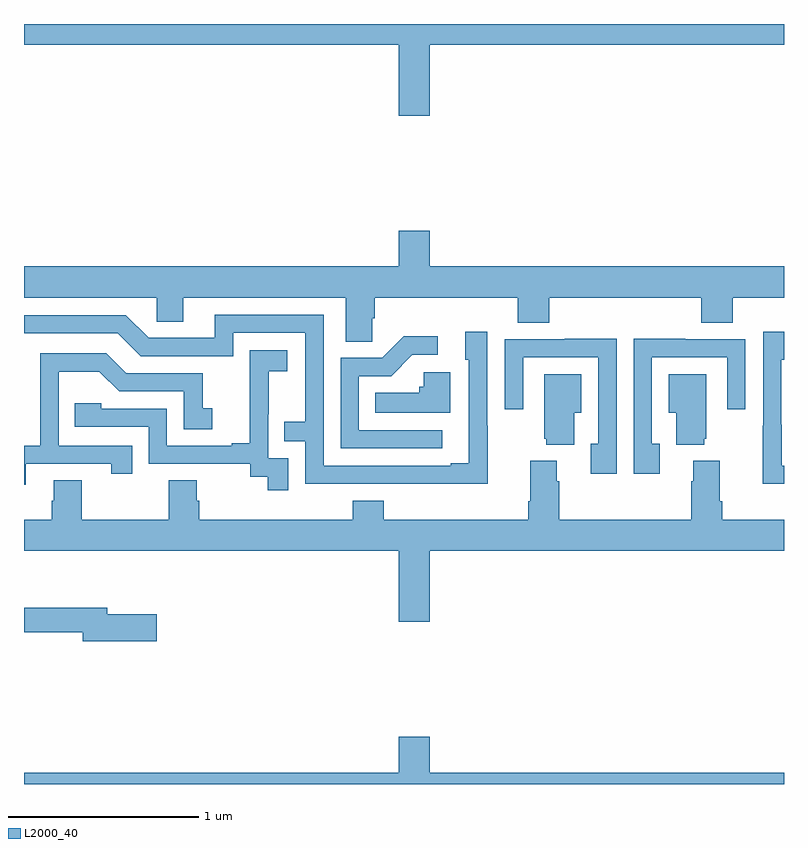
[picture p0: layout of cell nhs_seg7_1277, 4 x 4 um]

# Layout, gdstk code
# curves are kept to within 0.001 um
import gdstk
lib = gdstk.Library(unit=1e-6, precision=1e-09)
def P(c, l, *ps):  # polygons
    for p in ps: c.add(gdstk.Polygon(p, *l))
L2000_40 = (2000, 40)

nhs_seg7_1277 = lib.new_cell('nhs_seg7_1277')
P(nhs_seg7_1277, L2000_40, [(201.136,1057.892),(203,1057.892),(203,1058),(199,1058),(199,1057.892),(200.972,1057.892),(200.972,1057.518),(201.136,1057.518)],
  [(200.832,1056.451),(200.846,1056.451),(200.846,1056.56),(201.599,1056.56),(201.599,1056.427),(201.764,1056.427),(201.764,1056.56),(202.565,1056.56),(202.565,1056.427),(202.73,1056.427),(202.73,1056.56),(203,1056.56),(203,1056.724),(201.136,1056.724),(201.136,1056.913),(200.972,1056.913),(200.972,1056.724),(199,1056.724),(199,1056.56),(199.698,1056.56),(199.698,1056.433),(199.837,1056.433),(199.837,1056.56),(200.693,1056.56),(200.693,1056.328),(200.832,1056.328)],
  [(201.441,1055.885),(201.438,1055.885),(201.438,1056.379),(201.323,1056.379),(201.323,1056.234),(201.342,1056.234),(201.342,1055.689),(201.245,1055.689),(201.245,1055.676),(200.577,1055.676),(200.577,1056.471),(200.003,1056.471),(200.003,1056.348),(199.656,1056.348),(199.536,1056.468),(199,1056.468),(199,1056.372),(199.494,1056.372),(199.614,1056.252),(200.1,1056.252),(200.1,1056.375),(200.481,1056.375),(200.481,1055.906),(200.371,1055.906),(200.371,1055.805),(200.481,1055.805),(200.481,1055.58),(201.441,1055.579)],
  [(203,1055.676),(202.987,1055.676),(202.987,1055.891),(202.986,1055.891),(202.986,1056.234),(203,1056.234),(203,1056.379),(202.89,1056.379),(202.89,1055.885),(202.888,1055.885),(202.888,1055.579),(203,1055.579)],
  [(201.202,1055.862),(200.763,1055.862),(200.763,1056.147),(200.932,1056.147),(201.043,1056.258),(201.178,1056.258),(201.178,1056.356),(200.999,1056.356),(200.886,1056.243),(200.667,1056.243),(200.667,1055.766),(201.202,1055.766)],
  [(202.345,1055.79),(202.305,1055.79),(202.305,1056.246),(202.701,1056.246),(202.701,1055.973),(202.797,1055.973),(202.797,1056.342),(202.481,1056.342),(202.481,1056.344),(202.209,1056.344),(202.209,1055.634),(202.345,1055.634)],
  [(202.119,1056.344),(201.847,1056.344),(201.847,1056.342),(201.531,1056.342),(201.531,1055.973),(201.627,1055.973),(201.627,1056.246),(202.023,1056.246),(202.023,1055.79),(201.983,1055.79),(201.983,1055.634),(202.119,1055.634)],
  [(200.391,1055.715),(200.286,1055.715),(200.286,1055.945),(200.288,1055.945),(200.288,1056.173),(200.386,1056.173),(200.386,1056.283),(200.188,1056.283),(200.188,1056.077),(200.189,1056.077),(200.189,1055.794),(200.093,1055.794),(200.093,1055.781),(199.752,1055.781),(199.752,1055.976),(199.407,1055.976),(199.407,1056.003),(199.267,1056.003),(199.267,1055.88),(199.656,1055.88),(199.656,1055.685),(200.19,1055.685),(200.19,1055.617),(200.283,1055.617),(200.283,1055.547),(200.391,1055.547)],
  [(199.009,1055.685),(199.46,1055.685),(199.46,1055.634),(199.571,1055.634),(199.571,1055.781),(199.182,1055.781),(199.182,1056.17),(199.396,1056.17),(199.5,1056.066),(199.842,1056.066),(199.842,1055.868),(199.99,1055.868),(199.99,1055.977),(199.941,1055.977),(199.941,1056.162),(199.537,1056.162),(199.432,1056.267),(199.086,1056.267),(199.086,1055.781),(199,1055.781),(199,1055.574),(199.009,1055.574)],
  [(201.244,1056.166),(201.105,1056.166),(201.105,1056.09),(201.079,1056.09),(201.079,1056.058),(200.848,1056.058),(200.848,1055.954),(201.244,1055.954)],
  [(201.895,1055.954),(201.934,1055.954),(201.934,1056.157),(201.737,1056.157),(201.737,1055.817),(201.749,1055.817),(201.749,1055.786),(201.895,1055.786)],
  [(202.58,1055.817),(202.591,1055.817),(202.591,1056.157),(202.394,1056.157),(202.394,1055.954),(202.433,1055.954),(202.433,1055.786),(202.58,1055.786)],
  [(201.136,1055.228),(203,1055.228),(203,1055.392),(202.676,1055.392),(202.676,1055.488),(202.663,1055.488),(202.663,1055.701),(202.523,1055.701),(202.523,1055.594),(202.511,1055.594),(202.511,1055.392),(201.818,1055.392),(201.818,1055.594),(201.805,1055.594),(201.805,1055.701),(201.665,1055.701),(201.665,1055.488),(201.653,1055.488),(201.653,1055.392),(200.894,1055.392),(200.894,1055.491),(200.729,1055.491),(200.729,1055.392),(199.922,1055.392),(199.922,1055.49),(199.909,1055.49),(199.909,1055.6),(199.762,1055.6),(199.762,1055.392),(199.305,1055.392),(199.305,1055.6),(199.157,1055.6),(199.157,1055.49),(199.145,1055.49),(199.145,1055.392),(199,1055.392),(199,1055.228),(200.972,1055.228),(200.972,1054.854),(201.136,1054.854)],
  [(199.699,1054.893),(199.438,1054.893),(199.438,1054.927),(199,1054.927),(199,1054.798),(199.31,1054.798),(199.31,1054.751),(199.699,1054.751)],
  [(203,1054.06),(201.136,1054.06),(201.136,1054.249),(200.972,1054.249),(200.972,1054.06),(199,1054.06),(199,1054),(203,1054)])

lib.write_gds('nhs_seg7_1277.gds')
